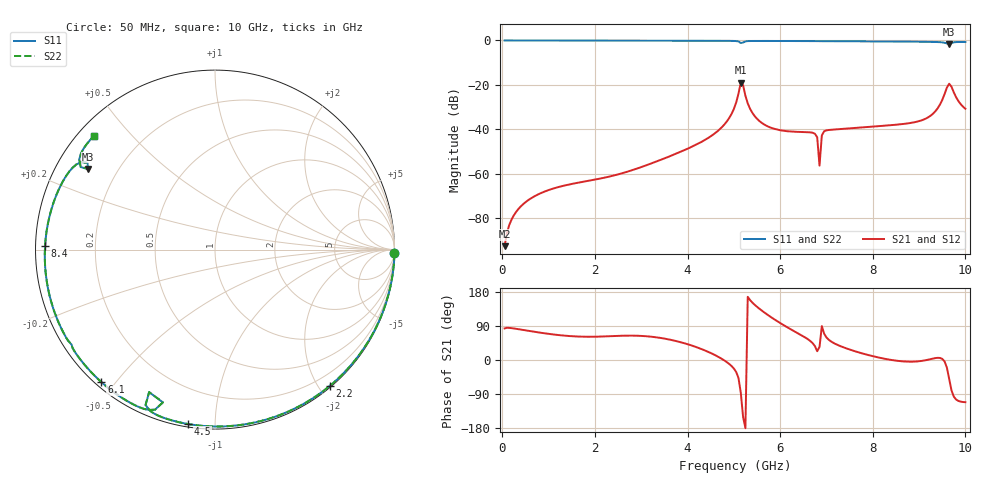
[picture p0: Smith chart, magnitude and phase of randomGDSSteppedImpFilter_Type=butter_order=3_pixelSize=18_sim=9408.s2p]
! freq	dB(S11)	phase(S11)	dB(S12)	phase(S12)
!  dB(S21)	phase(S21)	dB(S22)	phase(S22)
!S-par simulation data
#  GHz  S  DB  R 50
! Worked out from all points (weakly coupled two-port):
!   200 points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, 50 MHz to 10 GHz, reference 50 ohm
!   highest |S21| = -18.97 dB at 5.15 GHz (marker M1); lowest = -92.5 dB at 50 MHz (marker M2)
!   lowest |S11| = -1.5 dB at 9.65 GHz (marker M3), VSWR 11.46, Z = 4.73 + j14.4 ohm
!   |S11| at or under -10 dB: nowhere
!   |S22| runs from -1.5 to 0.0 dB; largest |S21 - S12| = 0
!   S11 on the Smith chart (normalised r, x): 50 MHz: 0, -99; 2.2 GHz: 0.02, -2.15; 4.5 GHz: 0.01, -0.86; 6.1 GHz: 0.02, -0.46; 8.4 GHz: 0.03, +0.01; 10 GHz: 0.04, +0.39
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0.05  -0.00 -1.2  -92.53 83.4  -92.53 83.4  -0.00 -1.2
0.8  -0.02 -18.4  -68.97 72.5  -68.97 72.5  -0.02 -18.4
1.75  -0.05 -39.9  -63.54 61.5  -63.54 61.5  -0.05 -39.9
2.2  -0.06 -49.8  -61.75 62.2  -61.75 62.2  -0.06 -49.8
3.4  -0.10 -75.7  -53.86 58.5  -53.86 58.5  -0.10 -75.7
4.5  -0.15 -98.8  -43.13 18.5  -43.13 18.5  -0.15 -98.8
4.85  -0.17 -106.4  -36.37 -5.8  -36.37 -5.8  -0.17 -106.5
5.05  -0.28 -111.9  -27.94 -31.5  -27.94 -31.5  -0.28 -112.0
5.15  -1.16 -114.8  -18.97 -86.3  -18.97 -86.3  -1.17 -114.8
5.35  -0.25 -114.0  -30.72 158.1  -30.72 158.1  -0.25 -114.0
5.5  -0.22 -117.7  -35.22 140.3  -35.22 140.3  -0.22 -117.8
6.1  -0.24 -130.6  -40.68 90.2  -40.68 90.2  -0.24 -130.6
6.7  -0.29 -143.2  -41.49 44.7  -41.49 44.7  -0.29 -143.3
6.8  -0.32 -145.5  -43.56 23.2  -43.56 23.2  -0.32 -145.5
6.85  -0.37 -146.5  -56.31 34.6  -56.31 34.6  -0.37 -146.5
6.9  -0.35 -147.1  -42.71 89.5  -42.71 89.5  -0.35 -147.2
6.95  -0.33 -148.2  -40.83 69.3  -40.83 69.3  -0.33 -148.3
8.35  -0.47 180.0  -38.18 1.1  -38.18 1.1  -0.47 180.0
8.4  -0.47 178.8  -38.09 0.1  -38.09 0.1  -0.47 178.7
9.25  -0.63 156.4  -33.82 2.4  -33.82 2.4  -0.63 156.4
9.65  -1.52 147.7  -19.47 -50.1  -19.47 -50.1  -1.50 147.6
10  -0.67 137.0  -30.72 -111.3  -30.72 -111.3  -0.67 136.9
